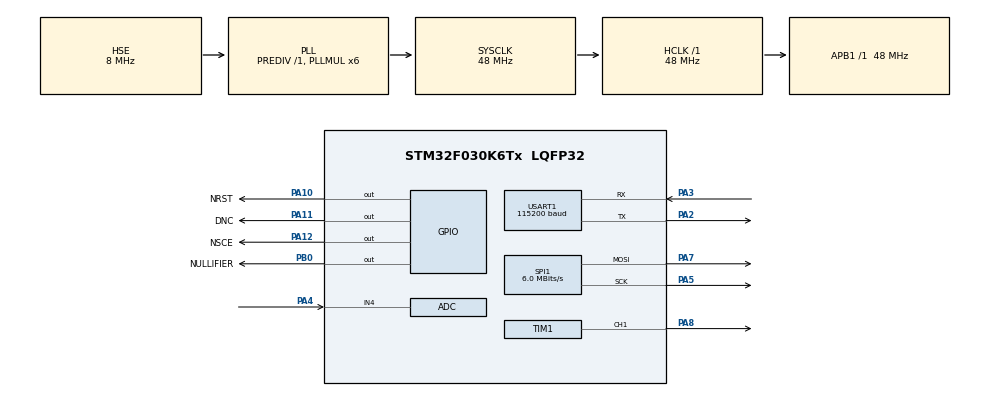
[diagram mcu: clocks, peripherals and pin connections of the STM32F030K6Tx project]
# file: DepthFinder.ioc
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ADC.SamplingTime=ADC_SAMPLETIME_13CYCLES_5
Mcu.Family=STM32F0
Mcu.Name=STM32F030K6Tx
Mcu.Package=LQFP32
NVIC.TIM1_BRK_UP_TRG_COM_IRQn=true\:0\:0\:false\:false\:true\:true\:true\:true
PA10.GPIO_Label=NRST
PA10.GPIO_PuPd=GPIO_PULLUP
PA10.Signal=GPIO_Output
PA11.GPIO_Label=DNC
PA11.GPIO_PuPd=GPIO_PULLDOWN
PA11.Signal=GPIO_Output
PA12.GPIO_Label=NSCE
PA12.GPIO_PuPd=GPIO_PULLDOWN
PA12.Signal=GPIO_Output
PA2.Mode=Asynchronous
PA2.Signal=USART1_TX
PA3.Mode=Asynchronous
PA3.Signal=USART1_RX
PA4.Mode=IN4
PA4.Signal=ADC_IN4
PA5.Mode=TX_Only_Simplex_Unidirect_Master
PA5.Signal=SPI1_SCK
PA7.Mode=TX_Only_Simplex_Unidirect_Master
PA7.Signal=SPI1_MOSI
PA8.Signal=S_TIM1_CH1
PB0.GPIO_Label=NULLIFIER
PB0.Signal=GPIO_Output
PF0-OSC_IN.Mode=HSE-External-Oscillator
PF0-OSC_IN.Signal=RCC_OSC_IN
PF1-OSC_OUT.Mode=HSE-External-Oscillator
PF1-OSC_OUT.Signal=RCC_OSC_OUT
ProjectManager.HeapSize=0x200
ProjectManager.StackSize=0x400
ProjectManager.TargetToolchain=STM32CubeIDE
RCC.AHBFreq_Value=48000000
RCC.APB1Freq_Value=48000000
RCC.APB1TimFreq_Value=48000000
RCC.HCLKFreq_Value=48000000
RCC.PLLMUL=RCC_PLL_MUL6
RCC.PLLSourceVirtual=RCC_PLLSOURCE_HSE
RCC.SYSCLKFreq_VALUE=48000000
RCC.SYSCLKSource=RCC_SYSCLKSOURCE_PLLCLK
SH.S_TIM1_CH1.0=TIM1_CH1,PWM Generation1 CH1
SPI1.BaudRatePrescaler=SPI_BAUDRATEPRESCALER_8
SPI1.CalculateBaudRate=6.0 MBits/s
SPI1.DataSize=SPI_DATASIZE_8BIT
SPI1.Direction=SPI_DIRECTION_2LINES
SPI1.Mode=SPI_MODE_MASTER
SPI1.VirtualType=VM_MASTER
TIM1.Channel-PWM\ Generation1\ CH1=TIM_CHANNEL_1
TIM1.Period=239
TIM1.Pulse-PWM\ Generation1\ CH1=180
TIM3.Channel-Output\ Compare1\ No\ Output=TIM_CHANNEL_1
TIM3.Prescaler=320
USART1.BaudRate=115200
USART1.VirtualMode-Asynchronous=VM_ASYNC
VP_TIM3_VS_no_output1.Mode=Output Compare1 No Output
board=custom

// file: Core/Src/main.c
/* USER CODE BEGIN Header */
/**
  ******************************************************************************
  * @file           : main.c
  * @brief          : Main program body
  ******************************************************************************
  * @attention
  *
  * Copyright (c) 2023 STMicroelectronics.
  * All rights reserved.
  *
  * This software is licensed under terms that can be found in the LICENSE file
  * in the root directory of this software component.
  * If no LICENSE file comes with this software, it is provided AS-IS.
  *
  ******************************************************************************
  */
/* USER CODE END Header */
#include "main.h"

/* USER CODE BEGIN Includes */
#include "stdio.h"
#include "u8g2.h"
#include "u8g2_driver.h"
#include <stdlib.h>
#include <string.h>

/* USER CODE END Includes */

/* USER CODE BEGIN PTD */
#define PROFILE_MAX_SIZE 256
typedef struct {
    uint16_t tick[PROFILE_MAX_SIZE];
    uint16_t amplitude[PROFILE_MAX_SIZE];
    uint16_t size;
    uint16_t target_density;
} profile_t;
/* USER CODE END PTD */

ADC_HandleTypeDef hadc;

SPI_HandleTypeDef hspi1;

TIM_HandleTypeDef htim1;
TIM_HandleTypeDef htim3;

UART_HandleTypeDef huart1;

/* USER CODE BEGIN PV */
sonar_t sonar = {0};
profile_t profile = {0};
u8g2_t u8g2;
/* USER CODE END PV */

void SystemClock_Config(void);

static void MX_GPIO_Init(void);

static void MX_ADC_Init(void);

static void MX_USART1_UART_Init(void);

static void MX_TIM1_Init(void);

static void MX_TIM3_Init(void);

static void MX_SPI1_Init(void);

/* USER CODE BEGIN 0 */

uint32_t measure_depth(profile_t *prof) {
    sonar.tx_count_sent = 0;
    HAL_GPIO_WritePin(NULLIFIER_GPIO_Port, NULLIFIER_Pin, 1);
    __HAL_TIM_SET_COUNTER(&htim1, 0);
    __HAL_TIM_SET_COUNTER(&htim3, 0);

    HAL_TIM_PWM_Start(&htim1, TIM_CHANNEL_1);
    __HAL_TIM_ENABLE(&htim1);
    HAL_TIM_Base_Start(&htim3);

    while (sonar.tx_count_sent < sonar.tx_count);

    int16_t min_val = 4095;
    uint32_t peak_ticks = 0;
    uint16_t tick = 0;
    const int16_t peak_threshold = 100;
    const uint16_t timeout = 30000;
    uint16_t last_profile = 0;
    prof->size = 0;
    do {
        tick = __HAL_TIM_GET_COUNTER(&htim3);
        if (HAL_ADC_Start(&hadc) != HAL_OK) return -1;
        if (HAL_ADC_PollForConversion(&hadc, 10) != HAL_OK) return -1;
        int16_t val = (int16_t) HAL_ADC_GetValue(&hadc);

        if (prof->size < (PROFILE_MAX_SIZE - 1) && tick >= (last_profile + prof->target_density)) {
            prof->amplitude[prof->size] = val;
            prof->tick[prof->size] = tick;
            prof->size++;
            last_profile = tick;
        }

        if (val < min_val) {
            min_val = val;
        }

        if (peak_ticks == 0 && val > min_val + peak_threshold) {
            peak_ticks = __HAL_TIM_GET_COUNTER(&htim3);
//            break;
        }

    } while (tick < timeout);
    if (peak_ticks == 0) return -1;

    HAL_TIM_Base_Stop(&htim3);
    const float v = 150000; // cm/s
    uint32_t dist_cm = (v * peak_ticks * (htim3.Init.Prescaler + 1)) / SystemCoreClock / 2;

    return dist_cm;
}

void HAL_TIM_PeriodElapsedCallback(TIM_HandleTypeDef *tim) {
    if (tim->Instance == TIM1) {
        sonar.tx_count_sent++;
        if (sonar.tx_count_sent >= sonar.tx_count) {
            HAL_TIM_PWM_Stop(&htim1, TIM_CHANNEL_1);
            HAL_TIM_Base_Stop(&htim1);
            HAL_GPIO_WritePin(NULLIFIER_GPIO_Port, NULLIFIER_Pin, 0);
        }
    }
}

void send_profile(profile_t *prof) {
    const char *start = "S\r\n";
    HAL_UART_Transmit(&huart1, start, strlen(start), 10);
    for (int i = 0; i < prof->size; i++) {
        static char buf1[20];
        static char buf2[20];
        itoa(prof->tick[i], buf1, 10);
        strcat(buf1, " ");
        itoa(prof->amplitude[i], buf2, 10);
        strcat(buf1, buf2);
        strcat(buf1, "\r\n");
        HAL_UART_Transmit(&huart1, buf1, strlen(buf1), 100);

    }
    const char *end = "F\r\n";
    HAL_UART_Transmit(&huart1, end, strlen(end), 10);
}

/* USER CODE END 0 */

int main(void) {

    /* MCU Configuration--------------------------------------------------------*/

    /* Reset of all peripherals, Initializes the Flash interface and the Systick. */
    HAL_Init();

    /* Configure the system clock */
    SystemClock_Config();

    /* Initialize all configured peripherals */
    MX_GPIO_Init();
    MX_ADC_Init();
    MX_USART1_UART_Init();
    MX_TIM1_Init();
    MX_TIM3_Init();
    MX_SPI1_Init();
    /* USER CODE BEGIN 2 */
    sonar.tx_count = 20;
    profile.target_density = 10;
    __HAL_TIM_ENABLE_IT(&htim1, TIM_IT_UPDATE);

    u8g2_Setup_pcd8544_84x48_f(&u8g2, U8G2_R0, u8x8_byte_stm32_hw_spi, u8x8_stm32_gpio_and_delay);

    /* Initialize Display */
    u8g2_InitDisplay(&u8g2);
    u8g2_SetPowerSave(&u8g2, 0);

    /* USER CODE END 2 */

    /* Infinite loop */
    while (1) {

        /* USER CODE BEGIN 3 */

        uint32_t dist_cm = measure_depth(&profile);

        static char buf[16];
        static char buf2[8];
        if (dist_cm == -1) {
            const char *err = "E\r\n";
            HAL_UART_Transmit(&huart1, err, strlen(err), 100);
        } else {
            itoa(dist_cm, buf, 10);
            strcat(buf, "cm\r\n");
            HAL_UART_Transmit(&huart1, buf, strlen(buf), 100);
            send_profile(&profile);
        }

        u8g2_ClearBuffer(&u8g2);
        u8g2_SetFont(&u8g2, u8g2_font_fub30_tf);

        if(dist_cm == -1){
            strcpy(buf, "Err");
        } else {
            itoa(dist_cm / 100, buf, 10);
            strcat(buf, ".");

            itoa((dist_cm / 10) % 10, buf2, 10);
            strcat(buf, buf2);
        }

        u8g2_DrawStr(&u8g2, 0, 32, buf);
        u8g2_SendBuffer(&u8g2);

        HAL_Delay(1000);
    }
    /* USER CODE END 3 */
}

void SystemClock_Config(void) {
    RCC_OscInitTypeDef RCC_OscInitStruct = {0};
    RCC_ClkInitTypeDef RCC_ClkInitStruct = {0};
    RCC_PeriphCLKInitTypeDef PeriphClkInit = {0};

    /** Initializes the RCC Oscillators according to the specified parameters
    * in the RCC_OscInitTypeDef structure.
    */
    RCC_OscInitStruct.OscillatorType = RCC_OSCILLATORTYPE_HSI14 | RCC_OSCILLATORTYPE_HSE;
    RCC_OscInitStruct.HSEState = RCC_HSE_ON;
    RCC_OscInitStruct.HSI14State = RCC_HSI14_ON;
    RCC_OscInitStruct.HSI14CalibrationValue = 16;
    RCC_OscInitStruct.PLL.PLLState = RCC_PLL_ON;
    RCC_OscInitStruct.PLL.PLLSource = RCC_PLLSOURCE_HSE;
    RCC_OscInitStruct.PLL.PLLMUL = RCC_PLL_MUL6;
    RCC_OscInitStruct.PLL.PREDIV = RCC_PREDIV_DIV1;
    if (HAL_RCC_OscConfig(&RCC_OscInitStruct) != HAL_OK) {
        Error_Handler();
    }

    /** Initializes the CPU, AHB and APB buses clocks
    */
    RCC_ClkInitStruct.ClockType = RCC_CLOCKTYPE_HCLK | RCC_CLOCKTYPE_SYSCLK
                                  | RCC_CLOCKTYPE_PCLK1;
    RCC_ClkInitStruct.SYSCLKSource = RCC_SYSCLKSOURCE_PLLCLK;
    RCC_ClkInitStruct.AHBCLKDivider = RCC_SYSCLK_DIV1;
    RCC_ClkInitStruct.APB1CLKDivider = RCC_HCLK_DIV1;

    if (HAL_RCC_ClockConfig(&RCC_ClkInitStruct, FLASH_LATENCY_1) != HAL_OK) {
        Error_Handler();
    }
    PeriphClkInit.PeriphClockSelection = RCC_PERIPHCLK_USART1;
    PeriphClkInit.Usart1ClockSelection = RCC_USART1CLKSOURCE_PCLK1;
    if (HAL_RCCEx_PeriphCLKConfig(&PeriphClkInit) != HAL_OK) {
        Error_Handler();
    }
}

static void MX_ADC_Init(void) {

    ADC_ChannelConfTypeDef sConfig = {0};

    /** Configure the global features of the ADC (Clock, Resolution, Data Alignment and number of conversion)
    */
    hadc.Instance = ADC1;
    hadc.Init.ClockPrescaler = ADC_CLOCK_ASYNC_DIV1;
    hadc.Init.Resolution = ADC_RESOLUTION_12B;
    hadc.Init.DataAlign = ADC_DATAALIGN_RIGHT;
    hadc.Init.ScanConvMode = ADC_SCAN_DIRECTION_FORWARD;
    hadc.Init.EOCSelection = ADC_EOC_SINGLE_CONV;
    hadc.Init.LowPowerAutoWait = DISABLE;
    hadc.Init.LowPowerAutoPowerOff = DISABLE;
    hadc.Init.ContinuousConvMode = DISABLE;
    hadc.Init.DiscontinuousConvMode = DISABLE;
    hadc.Init.ExternalTrigConv = ADC_SOFTWARE_START;
    hadc.Init.ExternalTrigConvEdge = ADC_EXTERNALTRIGCONVEDGE_NONE;
    hadc.Init.DMAContinuousRequests = DISABLE;
    hadc.Init.Overrun = ADC_OVR_DATA_PRESERVED;
    if (HAL_ADC_Init(&hadc) != HAL_OK) {
        Error_Handler();
    }

    /** Configure for the selected ADC regular channel to be converted.
    */
    sConfig.Channel = ADC_CHANNEL_4;
    sConfig.Rank = ADC_RANK_CHANNEL_NUMBER;
    sConfig.SamplingTime = ADC_SAMPLETIME_13CYCLES_5;
    if (HAL_ADC_ConfigChannel(&hadc, &sConfig) != HAL_OK) {
        Error_Handler();
    }

}

static void MX_SPI1_Init(void) {

    /* SPI1 parameter configuration*/
    hspi1.Instance = SPI1;
    hspi1.Init.Mode = SPI_MODE_MASTER;
    hspi1.Init.Direction = SPI_DIRECTION_2LINES;
    hspi1.Init.DataSize = SPI_DATASIZE_8BIT;
    hspi1.Init.CLKPolarity = SPI_POLARITY_LOW;
    hspi1.Init.CLKPhase = SPI_PHASE_1EDGE;
    hspi1.Init.NSS = SPI_NSS_SOFT;
    hspi1.Init.BaudRatePrescaler = SPI_BAUDRATEPRESCALER_8;
    hspi1.Init.FirstBit = SPI_FIRSTBIT_MSB;
    hspi1.Init.TIMode = SPI_TIMODE_DISABLE;
    hspi1.Init.CRCCalculation = SPI_CRCCALCULATION_DISABLE;
    hspi1.Init.CRCPolynomial = 7;
    hspi1.Init.CRCLength = SPI_CRC_LENGTH_DATASIZE;
    hspi1.Init.NSSPMode = SPI_NSS_PULSE_ENABLE;
    if (HAL_SPI_Init(&hspi1) != HAL_OK) {
        Error_Handler();
    }

}

static void MX_TIM1_Init(void) {

    TIM_MasterConfigTypeDef sMasterConfig = {0};
    TIM_OC_InitTypeDef sConfigOC = {0};
    TIM_BreakDeadTimeConfigTypeDef sBreakDeadTimeConfig = {0};

    htim1.Instance = TIM1;
    htim1.Init.Prescaler = 0;
    htim1.Init.CounterMode = TIM_COUNTERMODE_UP;
    htim1.Init.Period = 239;
    htim1.Init.ClockDivision = TIM_CLOCKDIVISION_DIV1;
    htim1.Init.RepetitionCounter = 0;
    htim1.Init.AutoReloadPreload = TIM_AUTORELOAD_PRELOAD_DISABLE;
    if (HAL_TIM_PWM_Init(&htim1) != HAL_OK) {
        Error_Handler();
    }
    sMasterConfig.MasterOutputTrigger = TIM_TRGO_RESET;
    sMasterConfig.MasterSlaveMode = TIM_MASTERSLAVEMODE_DISABLE;
    if (HAL_TIMEx_MasterConfigSynchronization(&htim1, &sMasterConfig) != HAL_OK) {
        Error_Handler();
    }
    sConfigOC.OCMode = TIM_OCMODE_PWM1;
    sConfigOC.Pulse = 180;
    sConfigOC.OCPolarity = TIM_OCPOLARITY_HIGH;
    sConfigOC.OCNPolarity = TIM_OCNPOLARITY_HIGH;
    sConfigOC.OCFastMode = TIM_OCFAST_DISABLE;
    sConfigOC.OCIdleState = TIM_OCIDLESTATE_RESET;
    sConfigOC.OCNIdleState = TIM_OCNIDLESTATE_RESET;
    if (HAL_TIM_PWM_ConfigChannel(&htim1, &sConfigOC, TIM_CHANNEL_1) != HAL_OK) {
        Error_Handler();
    }
    sBreakDeadTimeConfig.OffStateRunMode = TIM_OSSR_DISABLE;
    sBreakDeadTimeConfig.OffStateIDLEMode = TIM_OSSI_DISABLE;
    sBreakDeadTimeConfig.LockLevel = TIM_LOCKLEVEL_OFF;
    sBreakDeadTimeConfig.DeadTime = 0;
    sBreakDeadTimeConfig.BreakState = TIM_BREAK_DISABLE;
    sBreakDeadTimeConfig.BreakPolarity = TIM_BREAKPOLARITY_HIGH;
    sBreakDeadTimeConfig.AutomaticOutput = TIM_AUTOMATICOUTPUT_DISABLE;
    if (HAL_TIMEx_ConfigBreakDeadTime(&htim1, &sBreakDeadTimeConfig) != HAL_OK) {
        Error_Handler();
    }
    HAL_TIM_MspPostInit(&htim1);

}

static void MX_TIM3_Init(void) {

    TIM_MasterConfigTypeDef sMasterConfig = {0};
    TIM_OC_InitTypeDef sConfigOC = {0};

    htim3.Instance = TIM3;
    htim3.Init.Prescaler = 320;
    htim3.Init.CounterMode = TIM_COUNTERMODE_UP;
    htim3.Init.Period = 65535;
    htim3.Init.ClockDivision = TIM_CLOCKDIVISION_DIV1;
    htim3.Init.AutoReloadPreload = TIM_AUTORELOAD_PRELOAD_DISABLE;
    if (HAL_TIM_OC_Init(&htim3) != HAL_OK) {
        Error_Handler();
    }
    sMasterConfig.MasterOutputTrigger = TIM_TRGO_RESET;
    sMasterConfig.MasterSlaveMode = TIM_MASTERSLAVEMODE_DISABLE;
    if (HAL_TIMEx_MasterConfigSynchronization(&htim3, &sMasterConfig) != HAL_OK) {
        Error_Handler();
    }
    sConfigOC.OCMode = TIM_OCMODE_TIMING;
    sConfigOC.Pulse = 0;
    sConfigOC.OCPolarity = TIM_OCPOLARITY_HIGH;
    sConfigOC.OCFastMode = TIM_OCFAST_DISABLE;
    if (HAL_TIM_OC_ConfigChannel(&htim3, &sConfigOC, TIM_CHANNEL_1) != HAL_OK) {
        Error_Handler();
    }

}

static void MX_USART1_UART_Init(void) {

    huart1.Instance = USART1;
    huart1.Init.BaudRate = 115200;
    huart1.Init.WordLength = UART_WORDLENGTH_8B;
    huart1.Init.StopBits = UART_STOPBITS_1;
    huart1.Init.Parity = UART_PARITY_NONE;
    huart1.Init.Mode = UART_MODE_TX_RX;
    huart1.Init.HwFlowCtl = UART_HWCONTROL_NONE;
    huart1.Init.OverSampling = UART_OVERSAMPLING_16;
    huart1.Init.OneBitSampling = UART_ONE_BIT_SAMPLE_DISABLE;
    huart1.AdvancedInit.AdvFeatureInit = UART_ADVFEATURE_NO_INIT;
    if (HAL_UART_Init(&huart1) != HAL_OK) {
        Error_Handler();
    }

}

static void MX_GPIO_Init(void) {
    GPIO_InitTypeDef GPIO_InitStruct = {0};

    /* GPIO Ports Clock Enable */
    __HAL_RCC_GPIOF_CLK_ENABLE();
    __HAL_RCC_GPIOA_CLK_ENABLE();
    __HAL_RCC_GPIOB_CLK_ENABLE();

    /*Configure GPIO pin Output Level */
    HAL_GPIO_WritePin(NULLIFIER_GPIO_Port, NULLIFIER_Pin, GPIO_PIN_RESET);

    /*Configure GPIO pin Output Level */
    HAL_GPIO_WritePin(GPIOA, NRST_Pin | DNC_Pin | NSCE_Pin, GPIO_PIN_RESET);

    /*Configure GPIO pin : NULLIFIER_Pin */
    GPIO_InitStruct.Pin = NULLIFIER_Pin;
    GPIO_InitStruct.Mode = GPIO_MODE_OUTPUT_PP;
    GPIO_InitStruct.Pull = GPIO_NOPULL;
    GPIO_InitStruct.Speed = GPIO_SPEED_FREQ_LOW;
    HAL_GPIO_Init(NULLIFIER_GPIO_Port, &GPIO_InitStruct);

    /*Configure GPIO pin : NRST_Pin */
    GPIO_InitStruct.Pin = NRST_Pin;
    GPIO_InitStruct.Mode = GPIO_MODE_OUTPUT_PP;
    GPIO_InitStruct.Pull = GPIO_PULLUP;
    GPIO_InitStruct.Speed = GPIO_SPEED_FREQ_LOW;
    HAL_GPIO_Init(NRST_GPIO_Port, &GPIO_InitStruct);

    /*Configure GPIO pins : DNC_Pin NSCE_Pin */
    GPIO_InitStruct.Pin = DNC_Pin | NSCE_Pin;
    GPIO_InitStruct.Mode = GPIO_MODE_OUTPUT_PP;
    GPIO_InitStruct.Pull = GPIO_PULLDOWN;
    GPIO_InitStruct.Speed = GPIO_SPEED_FREQ_LOW;
    HAL_GPIO_Init(GPIOA, &GPIO_InitStruct);

}

void Error_Handler(void) {
    __disable_irq();
    while (1) {
    }
}
